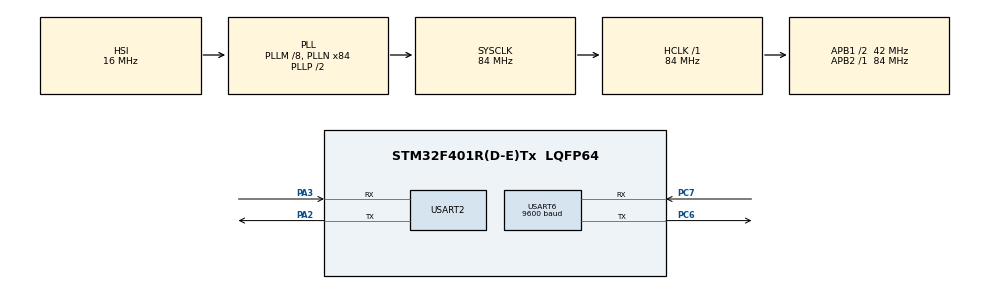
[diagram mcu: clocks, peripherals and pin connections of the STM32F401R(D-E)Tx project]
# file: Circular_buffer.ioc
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Mcu.Family=STM32F4
Mcu.Name=STM32F401R(D-E)Tx
Mcu.Package=LQFP64
NVIC.PriorityGroup=NVIC_PRIORITYGROUP_4
NVIC.USART6_IRQn=true\:0\:0\:false\:false\:true\:true\:true\:true
PA13.Mode=Serial_Wire
PA13.Signal=SYS_JTMS-SWDIO
PA14.Mode=Serial_Wire
PA14.Signal=SYS_JTCK-SWCLK
PA2.Mode=Asynchronous
PA2.Signal=USART2_TX
PA3.Mode=Asynchronous
PA3.Signal=USART2_RX
PC6.Mode=Asynchronous
PC6.Signal=USART6_TX
PC7.Mode=Asynchronous
PC7.Signal=USART6_RX
PH0\ -\ OSC_IN.Mode=HSE-External-Oscillator
PH0\ -\ OSC_IN.Signal=RCC_OSC_IN
PH1\ -\ OSC_OUT.Mode=HSE-External-Oscillator
PH1\ -\ OSC_OUT.Signal=RCC_OSC_OUT
ProjectManager.HeapSize=0x200
ProjectManager.StackSize=0x400
ProjectManager.TargetToolchain=STM32CubeIDE
RCC.48MHZClocksFreq_Value=42000000
RCC.AHBFreq_Value=84000000
RCC.APB1CLKDivider=RCC_HCLK_DIV2
RCC.APB1Freq_Value=42000000
RCC.APB1TimFreq_Value=84000000
RCC.APB2Freq_Value=84000000
RCC.APB2TimFreq_Value=84000000
RCC.CortexFreq_Value=84000000
RCC.HCLKFreq_Value=84000000
RCC.HSE_VALUE=25000000
RCC.HSI_VALUE=16000000
RCC.LSE_VALUE=32768
RCC.PLLM=8
RCC.PLLN=84
RCC.SYSCLKFreq_VALUE=84000000
RCC.SYSCLKSource=RCC_SYSCLKSOURCE_PLLCLK
RCC.VCOOutputFreq_Value=168000000
USART2.VirtualMode=VM_ASYNC
USART6.BaudRate=9600
USART6.VirtualMode=VM_ASYNC
board=custom

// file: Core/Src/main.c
/* USER CODE BEGIN Header */
/**
 ******************************************************************************
 * @file           : main.c
 * @brief          : Main program body
 ******************************************************************************
 * @attention
 *
 * Copyright (c) 2022 STMicroelectronics.
 * All rights reserved.
 *
 * This software is licensed under terms that can be found in the LICENSE file
 * in the root directory of this software component.
 * If no LICENSE file comes with this software, it is provided AS-IS.
 *
 ******************************************************************************
 */
/* USER CODE END Header */
#include "main.h"
#include "usart.h"
#include "gpio.h"

/* USER CODE BEGIN Includes */
#include "string.h"
/* USER CODE END Includes */

void SystemClock_Config(void);
/* USER CODE BEGIN PFP */
extern UART_HandleTypeDef huart2;
extern UART_HandleTypeDef huart6;
extern DMA_HandleTypeDef hdma_usart6_rx;
int bufferindex = -1;
/* USER CODE END PFP */

/* USER CODE BEGIN 0 */
#define RxBuf_SIZE   1200//9600bps

uint8_t RxBuf[RxBuf_SIZE];
/* USER CODE END 0 */

int main(void)
{

  /* MCU Configuration--------------------------------------------------------*/

  /* Reset of all peripherals, Initializes the Flash interface and the Systick. */
  HAL_Init();

  /* Configure the system clock */
  SystemClock_Config();

  /* Initialize all configured peripherals */
  MX_GPIO_Init();
  MX_USART2_UART_Init();
  MX_USART6_UART_Init();
  /* USER CODE BEGIN 2 */
	//HAL_UARTEx_ReceiveToIdle_DMA(&huart6, RxBuf, RxBuf_SIZE);
	//__HAL_DMA_DISABLE_IT(&hdma_usart6_rx, DMA_IT_HT);
  /* USER CODE END 2 */

  /* Infinite loop */
	while (1) {

    /* USER CODE BEGIN 3 */
		HAL_UART_Receive(&huart6, RxBuf, sizeof(RxBuf),1000);
		if (RxBuf[0] == '*') {
					for (int i = 0; i < sizeof(RxBuf); i++) {
						if (RxBuf[i] == '@') {
							bufferindex = i;
							break;
						}
					}
					if (bufferindex != -1) {
						HAL_UART_Transmit(&huart2, RxBuf, bufferindex, 100);
						HAL_UART_Transmit(&huart2, (uint8_t*) "\n", 2, 100);
					} else {
						HAL_UART_Transmit(&huart2, (uint8_t*) "Error", 5, 100);
						HAL_UART_Transmit(&huart2, (uint8_t*) "\n", 2, 100);
					}

				}
	}
  /* USER CODE END 3 */
}

void SystemClock_Config(void)
{
  RCC_OscInitTypeDef RCC_OscInitStruct = {0};
  RCC_ClkInitTypeDef RCC_ClkInitStruct = {0};

  /** Configure the main internal regulator output voltage
  */
  __HAL_RCC_PWR_CLK_ENABLE();
  __HAL_PWR_VOLTAGESCALING_CONFIG(PWR_REGULATOR_VOLTAGE_SCALE2);

  /** Initializes the RCC Oscillators according to the specified parameters
  * in the RCC_OscInitTypeDef structure.
  */
  RCC_OscInitStruct.OscillatorType = RCC_OSCILLATORTYPE_HSI;
  RCC_OscInitStruct.HSIState = RCC_HSI_ON;
  RCC_OscInitStruct.HSICalibrationValue = RCC_HSICALIBRATION_DEFAULT;
  RCC_OscInitStruct.PLL.PLLState = RCC_PLL_ON;
  RCC_OscInitStruct.PLL.PLLSource = RCC_PLLSOURCE_HSI;
  RCC_OscInitStruct.PLL.PLLM = 8;
  RCC_OscInitStruct.PLL.PLLN = 84;
  RCC_OscInitStruct.PLL.PLLP = RCC_PLLP_DIV2;
  RCC_OscInitStruct.PLL.PLLQ = 4;
  if (HAL_RCC_OscConfig(&RCC_OscInitStruct) != HAL_OK)
  {
    Error_Handler();
  }

  /** Initializes the CPU, AHB and APB buses clocks
  */
  RCC_ClkInitStruct.ClockType = RCC_CLOCKTYPE_HCLK|RCC_CLOCKTYPE_SYSCLK
                              |RCC_CLOCKTYPE_PCLK1|RCC_CLOCKTYPE_PCLK2;
  RCC_ClkInitStruct.SYSCLKSource = RCC_SYSCLKSOURCE_PLLCLK;
  RCC_ClkInitStruct.AHBCLKDivider = RCC_SYSCLK_DIV1;
  RCC_ClkInitStruct.APB1CLKDivider = RCC_HCLK_DIV2;
  RCC_ClkInitStruct.APB2CLKDivider = RCC_HCLK_DIV1;

  if (HAL_RCC_ClockConfig(&RCC_ClkInitStruct, FLASH_LATENCY_2) != HAL_OK)
  {
    Error_Handler();
  }
}

void Error_Handler(void)
{
	__disable_irq();
	while (1) {
	}
}
